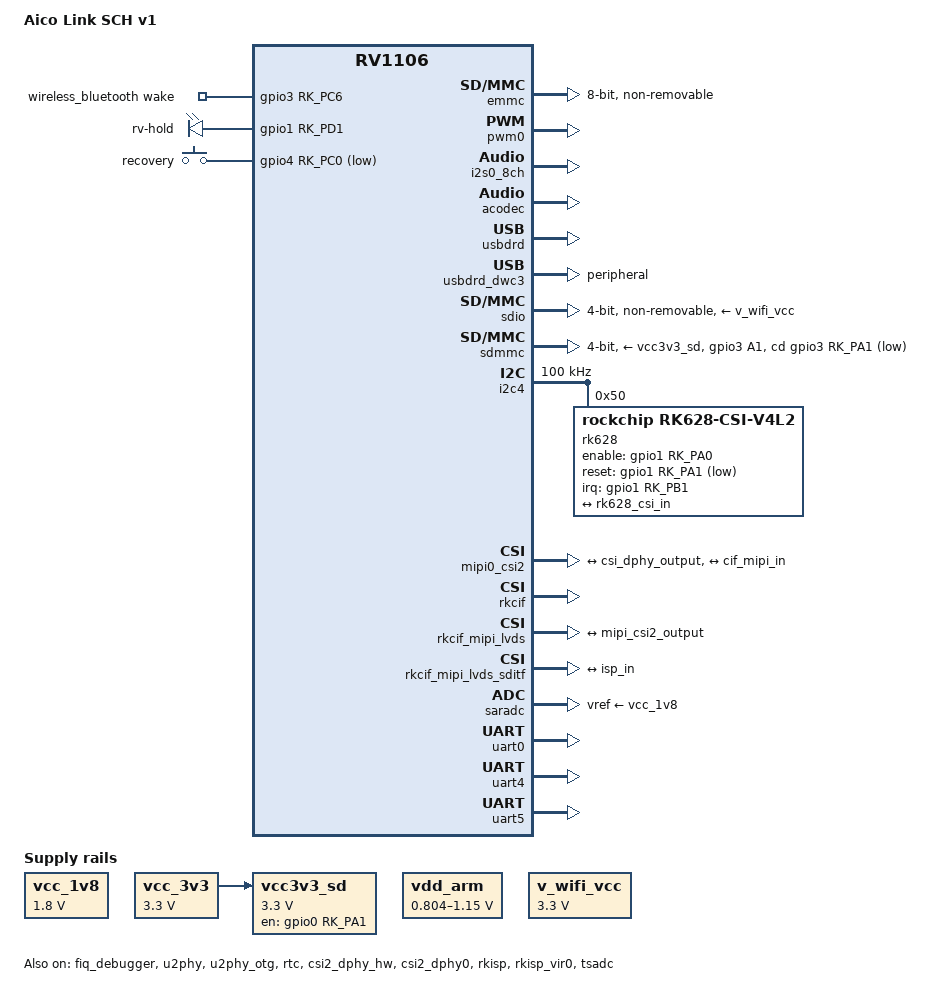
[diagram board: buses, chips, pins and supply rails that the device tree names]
// SPDX-License-Identifier: (GPL-2.0+ OR MIT)
/*
 * Aico Link SCH v1 (RV1106G) board device tree
 *
 * Derived from rv1106g-luckfox-pico-zero.dts and
 * rv1106-luckfox-pico-zero-ipc.dtsi and adapted to the Aico Link SCH v1
 * hardware (GD32L235 MCU + MP2720 charger + BQ27220 fuel gauge,
 * RK628F/H HDMI-to-CSI bridge on I2C4, SDMMC0 TF card, SKI.WB800D80S.1
 * (AIC8800D80) WiFi/BT, AW8010 amplifier and ASRPro voice module).
 */

/dts-v1/;
#include "rv1106.dtsi"
#include "rv1106-evb.dtsi"
#include <dt-bindings/input/input.h>
#include <dt-bindings/display/media-bus-format.h>

/ {
	model = "Aico Link SCH v1";
	compatible = "rockchip,rv1103g-38x38-ipc-v10", "rockchip,rv1106g3",
		     "rockchip,rv1106";

	chosen {
		bootargs = "root=/dev/mmcblk0p7 rootwait snd_soc_core.prealloc_buffer_size_kbytes=16 coherent_pool=0";
	};

	reserved_memory: reserved-memory {
		status = "okay";
		#address-cells = <1>;
		#size-cells = <1>;
		ranges;
		mmc_ecsd: mmc@3f000 {
			reg = <0x3f000 0x00001000>;
		};
	};

	acodec_sound: acodec-sound {
		compatible = "simple-audio-card";
		simple-audio-card,name = "rv1106-acodec";
		simple-audio-card,format = "i2s";
		simple-audio-card,mclk-fs = <256>;
		status = "okay";
		simple-audio-card,cpu {
			sound-dai = <&i2s0_8ch>;
		};
		simple-audio-card,codec {
			sound-dai = <&acodec>;
		};
	};

	dsm_sound: dsm-sound {
		status = "disabled";
		compatible = "simple-audio-card";
		simple-audio-card,format = "i2s";
		simple-audio-card,mclk-fs = <256>;
		simple-audio-card,name = "rockchip,dsm-sound";
		simple-audio-card,bitclock-master = <&sndcodec>;
		simple-audio-card,frame-master = <&sndcodec>;
		sndcpu: simple-audio-card,cpu {
			sound-dai = <&i2s0_8ch>;
		};
		sndcodec: simple-audio-card,codec {
			sound-dai = <&dsm>;
		};
	};

	vcc_1v8: vcc-1v8 {
		compatible = "regulator-fixed";
		regulator-name = "vcc_1v8";
		regulator-always-on;
		regulator-boot-on;
		regulator-min-microvolt = <1800000>;
		regulator-max-microvolt = <1800000>;
	};

	vcc_3v3: vcc-3v3 {
		compatible = "regulator-fixed";
		regulator-name = "vcc_3v3";
		regulator-always-on;
		regulator-boot-on;
		regulator-min-microvolt = <3300000>;
		regulator-max-microvolt = <3300000>;
	};

	/*
	 * SCH v1 p4: SY8892, R82=56k, R84=100k, R85=24k,
	 * R86=150k, R87=10k; 0.6V feedback and 3.3V PWM.
	 * Vout = 1.149933V - 0.104869 * Vpwm (nominal).
	 */
	vdd_arm: vdd-arm {
		compatible = "pwm-regulator";
		pwms = <&pwm0 0 5000 1>;
		regulator-name = "vdd_arm";
		regulator-min-microvolt = <804000>;
		regulator-max-microvolt = <1150000>;
		regulator-init-microvolt = <950000>;
		regulator-settling-time-up-us = <250>;
		pwm-dutycycle-unit = <1000>;
		pwm-dutycycle-range = <0 1000>;
		regulator-always-on;
		regulator-boot-on;
	};

	/* TF card supply switch driven by the WS4622C (SDMMC0_PWREN). */
	vcc3v3_sd: vcc3v3-sd-regulator {
		compatible = "regulator-fixed";
		regulator-name = "vcc3v3_sd";
		gpio = <&gpio0 RK_PA1 GPIO_ACTIVE_HIGH>;
		regulator-min-microvolt = <3300000>;
		regulator-max-microvolt = <3300000>;
		enable-active-high;
		vin-supply = <&vcc_3v3>;
		pinctrl-names = "default";
		pinctrl-0 = <&sdmmc0_power_en>;
		startup-delay-us = <10000>;
		off-on-delay-us = <200000>;
	};

	/* WiFi (SKI.WB800D80S.1 / AIC8800D80) 3.3V rail. */
	v_wifi_vcc: v-wifi-vcc {
		compatible = "regulator-fixed";
		regulator-name = "v_wifi_vcc";
		regulator-always-on;
		regulator-boot-on;
		regulator-min-microvolt = <3300000>;
		regulator-max-microvolt = <3300000>;
	};

	/*
	 * MCU owns WIFI_VCC_PWREN (p1). WL_EN (module pin 12) has an
	 * external pull-up to V_WIFI_1V8 on SCH v1. Do not bind a Linux
	 * mmc-pwrseq reset GPIO here: a failed probe must not leave WL_EN
	 * asserted low and keep the module disabled on subsequent attempts.
	 */

	wireless_bluetooth: wireless-bluetooth {
		compatible = "bluetooth-platdata";
		BT,wake_gpio = <&gpio3 RK_PC6 GPIO_ACTIVE_HIGH>;
		/* BT_WAKE_MCU terminates at the MCU, not an RV1106 IRQ. */
		status = "okay";

	};
	/*
	 * GD32L235 companion MCU interface.
	 *
	 * RV_HOLD keeps VCC5V0_SYS enabled: the MCU forces the rail up at
	 * power-on and cuts it again unless the SoC takes over the signal
	 * within its supervision window.  The kernel drives GPIO1_D1 high
	 * through the gpio-leds default state.
	 */
	mcu_control {
		compatible = "gpio-leds";

		rv_hold {
			label = "rv-hold";
			gpios = <&gpio1 RK_PD1 GPIO_ACTIVE_HIGH>;
			default-state = "on";
			retain-state-suspended;
		};
	};

	/*
	 * RECOVERY shares the GPIO4_C0 / SARADC_IN0 ball.  Pulling it low
	 * while the BootROM samples the pin enters Loader/download mode; at
	 * runtime it is reported as a KEY_VENDOR key event.
	 */
	gpio-keys {
		compatible = "gpio-keys";
		autorepeat;

		recovery {
			label = "recovery";
			linux,code = <KEY_VENDOR>;
			gpios = <&gpio4 RK_PC0 GPIO_ACTIVE_LOW>;
			debounce-interval = <100>;
		};
	};

	/*
	 * The EVB ADC volume keys are not populated; GPIO4_C0 is used as
	 * RECOVERY instead of as SARADC_IN0.
	 */
	adc-keys {
		status = "disabled";
	};
};

&rockchip_suspend {
	/* SCH v1 has no external 32 kHz crystal; use the internal oscillator. */
	rockchip,sleep-mode-config = <0>;
	/* Preserve board pinmux/pulls instead of applying the EVB GPIO0 table. */
	/delete-property/ rockchip,sleep-io-config;
};

/**********CRU**********/
&cru {
	assigned-clocks =
		<&cru PLL_GPLL>, <&cru PLL_CPLL>,
		<&cru ARMCLK>,
		<&cru ACLK_PERI_ROOT>, <&cru HCLK_PERI_ROOT>,
		<&cru PCLK_PERI_ROOT>, <&cru ACLK_BUS_ROOT>,
		<&cru PCLK_TOP_ROOT>, <&cru PCLK_PMU_ROOT>,
		<&cru HCLK_PMU_ROOT>, <&cru CLK_500M_SRC>;
	assigned-clock-rates =
		<1188000000>, <700000000>,
		<1104000000>,
		<400000000>, <200000000>,
		<100000000>, <300000000>,
		<100000000>, <100000000>,
		<200000000>, <700000000>;
};

/**********NPU**********/
&npu {
	assigned-clock-rates = <700000000>;
};

/**********EMMC**********/
&emmc {
	bus-width = <8>;
	cap-mmc-highspeed;
	non-removable;
	// mmc-hs200-1_8v;
	rockchip,default-sample-phase = <90>;
	no-sdio;
	no-sd;
	memory-region-ecsd = <&mmc_ecsd>;
	post-power-on-delay-ms = <0>;
	status = "okay";
};

&pwm0 {
	status = "okay";
	pinctrl-0 = <&pwm0m0_pins>;
};

&cpu0 {
	cpu-supply = <&vdd_arm>;
};

/************************* FIQ_DUBUGGER ****************************/
&fiq_debugger {
	rockchip,irq-mode-enable = <1>;
	status = "okay";
};

/***************************** audio ********************************/
&i2s0_8ch {
	#sound-dai-cells = <0>;
	status = "okay";
};

&acodec {
	#sound-dai-cells = <0>;
	/* SPK_SDn_1V8, pin 22; GPIO3_C0 is CSI clock. */
	pa-ctl-gpios = <&gpio4 RK_PC1 GPIO_ACTIVE_HIGH>;
	status = "okay";
};

/***************************** DSM *********************************/
&dsm {
	status = "disabled";
};

/***************************** USB *********************************/
&u2phy {
	status = "okay";
};

&u2phy_otg {
	/* SCH v1: VBUSDET is divided from VSYS_LOAD, not connector VBUS. */
	rockchip,vbus-always-on;
	status = "okay";
};

&usbdrd {
	status = "okay";
};

&usbdrd_dwc3 {
	extcon = <&u2phy>;
	status = "okay";
	dr_mode = "peripheral";
};

/**********SDIO-WIFI (SKI.WB800D80S.1 / AIC8800D80)**********/
&sdio {
	/* The companion MCU retains module power across RV1106 resets. */
	aico,aic8800d80-retained-sdio;
	max-frequency = <50000000>;
	bus-width = <4>;
	non-removable;
	cap-sd-highspeed;
	cap-sdio-irq;
	keep-power-in-suspend;
	rockchip,default-sample-phase = <90>;
	supports-sdio;
	vmmc-supply = <&v_wifi_vcc>; /* MCU-controlled supply */
	vqmmc-supply = <&vcc_1v8>;
	no-sd;
	no-mmc;
	pinctrl-names = "default";
	pinctrl-0 = <&sdmmc1m0_cmd &sdmmc1m0_clk &sdmmc1m0_bus4>;
	status = "okay";
};

/**********SD_CARD / TF (SDMMC0)**********/
&sdmmc {
	/* RV1106 pinctrl disables the JTAG override on SDMMC DAT2/DAT3. */
	max-frequency = <50000000>;
	bus-width = <4>;
	cap-sd-highspeed;
	supports-sd;
	disable-wp;
	vmmc-supply = <&vcc3v3_sd>; /* TF card supply */
	vqmmc-supply = <&vcc_3v3>; /* VCCIO4 is fixed at 3.3 V through R185. */
	no-sdio;
	no-mmc;
	post-power-on-delay-ms = <20>;
	power-off-delay-ms = <200>;
	cd-gpios = <&gpio3 RK_PA1 GPIO_ACTIVE_LOW>; /* SDMMC_DET */
	/* Vendor DW-MMC requires normal/idle for power-cycle recovery. */
	pinctrl-names = "default", "normal", "idle";
	pinctrl-0 = <&sdmmc0_clk &sdmmc0_cmd &sdmmc0_bus4 &sdmmc0_card_detect>;
	pinctrl-1 = <&sdmmc0_clk &sdmmc0_cmd &sdmmc0_bus4 &sdmmc0_card_detect>;
	pinctrl-2 = <&sdmmc0_idle_pins &sdmmc0_card_detect>;
	status = "okay";
};

/**********ETH**********/
&gmac {
	status = "disabled";
};

/**********RTC**********/
&rtc {
	status = "okay";
};

/* Charger/fuel gauge are on the MCU bus. I2C1 M1 conflicts with BT UART0. */
&i2c1 {
	status = "disabled";
};

/*************************** CSI *********************************/
&csi2_dphy_hw {
	status = "okay";
};

&csi2_dphy0 {
	status = "okay";

	ports {
		#address-cells = <1>;
		#size-cells = <0>;

		port@0 {
			reg = <0>;
			#address-cells = <1>;
			#size-cells = <0>;

			/* RK628F/H HDMI-to-CSI bridge (four lanes). */
			rk628_csi_in: endpoint@0 {
				reg = <0>;
				remote-endpoint = <&rk628_csi_out>;
				data-lanes = <1 2 3 4>;
			};
		};

		port@1 {
			reg = <1>;
			#address-cells = <1>;
			#size-cells = <0>;

			csi_dphy_output: endpoint@0 {
					reg = <0>;
					remote-endpoint = <&mipi_csi2_input>;
			};
		};
	};
};

/* SCH v1 p8/p13: RK628_I2C_{SCL,SDA}_3V3 on GPIO1_C2/C3. */
&i2c4 {
	status = "okay";
	clock-frequency = <100000>;
	pinctrl-names = "default";
	pinctrl-0 = <&i2c4m1_xfer>;

	rk628: rk628@50 {
		compatible = "rockchip,rk628-csi-v4l2";
		reg = <0x50>;
		status = "okay";
		continues-clk;
		/* Preserve the HDMI timing on CSI; userspace advertises 1080p60-only EDID. */

		pinctrl-names = "default";
		pinctrl-0 = <&rk628_power_pin &rk628_reset_pin &rk628_int_pin>;
		enable-gpios = <&gpio1 RK_PA0 GPIO_ACTIVE_HIGH>; /* RK628H_3V3_PWREN */
		reset-gpios = <&gpio1 RK_PA1 GPIO_ACTIVE_LOW>; /* RK628_RESET_H */
		interrupt-parent = <&gpio1>;
		interrupts = <RK_PB1 IRQ_TYPE_LEVEL_HIGH>; /* RK628_INT_H */

		rockchip,camera-module-index = <0>;
		rockchip,camera-module-facing = "back";
		rockchip,camera-module-name = "RK628-CSI";
		rockchip,camera-module-lens-name = "NC";

		port {
			rk628_csi_out: endpoint {
				remote-endpoint = <&rk628_csi_in>;
				data-lanes = <1 2 3 4>;
				clock-lanes = <0>;
			};
		};
	};
};

/* RV_I2C3_{SCL,SDA}_1V8 goes to the header, not RK628. */
&i2c3 {
	status = "disabled";
};

&mipi0_csi2 {
	status = "okay";

	ports {
		#address-cells = <1>;
		#size-cells = <0>;

		port@0 {
			reg = <0>;
			#address-cells = <1>;
			#size-cells = <0>;

			mipi_csi2_input: endpoint@1 {
					reg = <1>;
					remote-endpoint = <&csi_dphy_output>;
			};
		};

		port@1 {
			reg = <1>;
			#address-cells = <1>;
			#size-cells = <0>;

			mipi_csi2_output: endpoint@0 {
					reg = <0>;
					remote-endpoint = <&cif_mipi_in>;
			};
		};
	};
};

&rkcif {
	status = "okay";
};

&rkcif_mipi_lvds {
	status = "okay";

	pinctrl-names = "default";
	pinctrl-0 = <&mipi_pins>;
	port {
		/* MIPI CSI-2 endpoint */
		cif_mipi_in: endpoint {
				remote-endpoint = <&mipi_csi2_output>;
		};
	};
};

&rkcif_mipi_lvds_sditf {
	status = "okay";

	port {
		/* MIPI CSI-2 endpoint */
		mipi_lvds_sditf: endpoint {
				remote-endpoint = <&isp_in>;
		};
	};
};

&rkisp {
	status = "okay";
};

&rkisp_vir0 {
	status = "okay";

	port@0 {
		isp_in: endpoint {
				remote-endpoint = <&mipi_lvds_sditf>;
		};
	};
};

/***************************** ADC ********************************/
&saradc {
	status = "okay";
	vref-supply = <&vcc_1v8>;
};

&tsadc {
	status = "okay";
};

/**************************** UART ********************************/
/* Bluetooth (SKI.WB800D80S.1 / AIC8800D80) on UART0 with RTS/CTS
 * hardware flow control. */
&uart0 {
	status = "okay";
	pinctrl-names = "default";
	pinctrl-0 = <&uart0m1_xfer &uart0m1_ctsn &uart0m1_rtsn>;
};

/* UART2 M1 is the debug UART owned by fiq_debugger. */
&uart2 {
	status = "disabled";
};

/* UART3 M1 RX is RV_HOLD, not the MCU serial link. */
&uart3 {
	status = "disabled";
};

/* ASRPro: GPIO1_C4/C5, pins 91/90. */
&uart4 {
	status = "okay";
	pinctrl-names = "default";
	pinctrl-0 = <&uart4m1_xfer>;
};

/* GD32L235 LPUART1: GPIO1_D2/D3, pins 86/85. */
&uart5 {
	status = "okay";
	wakeup-source;
	pinctrl-names = "default";
	pinctrl-0 = <&uart5m1_xfer>;
};

/**************************** SPI *********************************/
&spi0 {
	status = "disabled";
};

/**************************** PINCTRL ******************************/
&pinctrl {
	/* Keep WL_EN passive and independent of the SDIO host lifetime. */
	pinctrl-names = "default";
	pinctrl-0 = <&wifi_enable>;
	tf-card {
		sdmmc0_power_en: sdmmc0-power-en {
			rockchip,pins = <0 RK_PA1 RK_FUNC_GPIO &pcfg_pull_none>;
		};
		sdmmc0_card_detect: sdmmc0-card-detect {
			rockchip,pins = <3 RK_PA1 RK_FUNC_GPIO &pcfg_pull_up>;
		};
	};
	wifi {
		wifi_enable: wifi-enable {
			rockchip,pins = <3 RK_PC5 RK_FUNC_GPIO &pcfg_pull_up>;
		};
	};
	rk628 {
		rk628_power_pin: rk628-power-pin {
			rockchip,pins = <1 RK_PA0 RK_FUNC_GPIO &pcfg_pull_none>;
		};
		rk628_reset_pin: rk628-reset-pin {
			rockchip,pins = <1 RK_PA1 RK_FUNC_GPIO &pcfg_pull_none>;
		};
		rk628_int_pin: rk628-int-pin {
			rockchip,pins = <1 RK_PB1 RK_FUNC_GPIO &pcfg_pull_up>;
		};
	};
};
